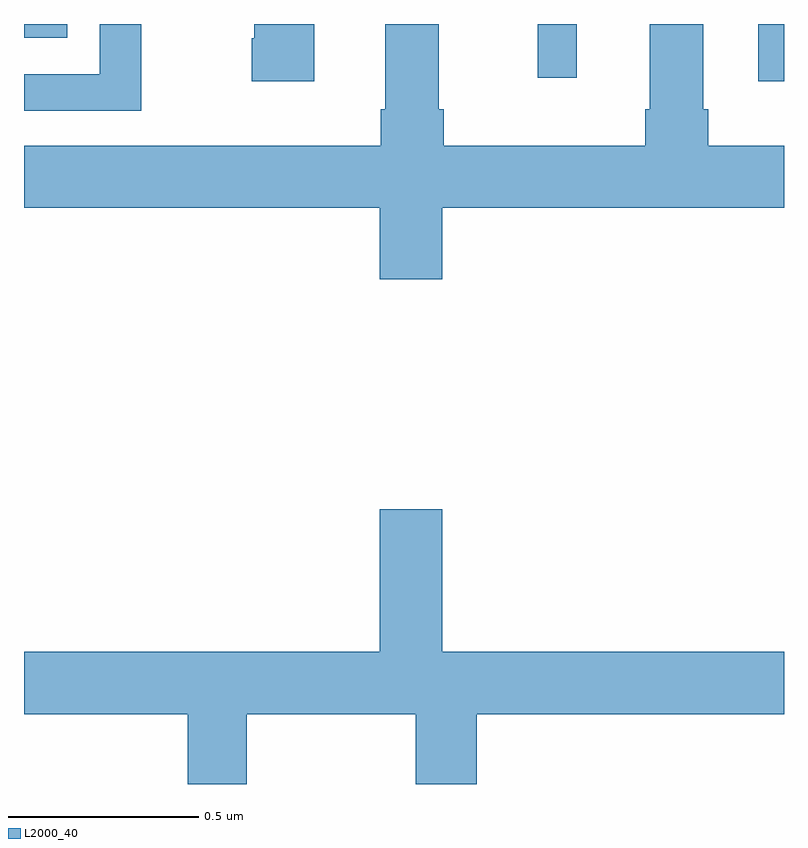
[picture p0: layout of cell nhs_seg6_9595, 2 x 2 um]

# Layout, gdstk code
import gdstk
lib = gdstk.Library(unit=1e-6, precision=1e-09)
def R(c, l, rs):  # rectangles x0, y0, x1, y1
    for r in rs: c.add(gdstk.rectangle(r[:2], r[2:], *l))
def P(c, l, *ps):  # polygons
    for p in ps: c.add(gdstk.Polygon(p, *l))
L2000_40 = (2000, 40)

nhs_seg6_9595 = lib.new_cell('nhs_seg6_9595')
R(nhs_seg6_9595, L2000_40, [(237.932,934.35,238,934.5), (237.352,934.359,237.455,934.5), (236,934.464,236.114,934.5)])
P(nhs_seg6_9595, L2000_40, [(237.1,934.016),(238,934.016),(238,934.18),(237.8,934.18),(237.8,934.276),(237.787,934.276),(237.787,934.5),(237.647,934.5),(237.647,934.276),(237.635,934.276),(237.635,934.18),(237.104,934.18),(237.104,934.276),(237.091,934.276),(237.091,934.5),(236.951,934.5),(236.951,934.276),(236.939,934.276),(236.939,934.18),(236,934.18),(236,934.016),(236.936,934.016),(236.936,933.828),(237.1,933.828)],
  [(236.308,934.5),(236.199,934.5),(236.199,934.368),(236,934.368),(236,934.272),(236.308,934.272)],
  [(236.764,934.5),(236.606,934.5),(236.606,934.462),(236.599,934.462),(236.599,934.35),(236.764,934.35)],
  [(236.586,932.684),(237.031,932.684),(237.031,932.5),(237.191,932.5),(237.191,932.684),(238,932.684),(238,932.848),(237.1,932.848),(237.1,933.223),(236.936,933.223),(236.936,932.848),(236,932.848),(236,932.684),(236.431,932.684),(236.431,932.5),(236.586,932.5)])

lib.write_gds('nhs_seg6_9595.gds')
